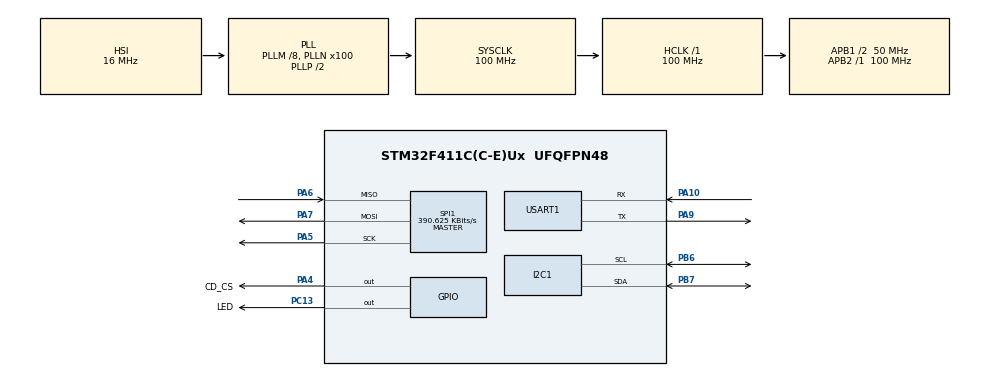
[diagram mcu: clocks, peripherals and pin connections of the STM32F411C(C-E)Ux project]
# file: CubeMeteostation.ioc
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I2C1.I2C_Mode=I2C_Standard
Mcu.Family=STM32F4
Mcu.Name=STM32F411C(C-E)Ux
Mcu.Package=UFQFPN48
NVIC.PriorityGroup=NVIC_PRIORITYGROUP_4
PA10.Mode=Asynchronous
PA10.Signal=USART1_RX
PA13.Mode=Serial_Wire
PA13.Signal=SYS_JTMS-SWDIO
PA14.Mode=Serial_Wire
PA14.Signal=SYS_JTCK-SWCLK
PA4.GPIO_Label=CD_CS
PA4.Signal=GPIO_Output
PA5.Mode=Full_Duplex_Master
PA5.Signal=SPI1_SCK
PA6.Mode=Full_Duplex_Master
PA6.Signal=SPI1_MISO
PA7.Mode=Full_Duplex_Master
PA7.Signal=SPI1_MOSI
PA9.Mode=Asynchronous
PA9.Signal=USART1_TX
PB6.Mode=I2C
PB6.Signal=I2C1_SCL
PB7.Mode=I2C
PB7.Signal=I2C1_SDA
PC13-ANTI_TAMP.GPIO_Label=LED
PC13-ANTI_TAMP.Signal=GPIO_Output
PH0\ -\ OSC_IN.Mode=HSE-External-Oscillator
PH0\ -\ OSC_IN.Signal=RCC_OSC_IN
PH1\ -\ OSC_OUT.Mode=HSE-External-Oscillator
PH1\ -\ OSC_OUT.Signal=RCC_OSC_OUT
ProjectManager.HeapSize=0x200
ProjectManager.StackSize=0x400
ProjectManager.TargetToolchain=STM32CubeIDE
RCC.48MHZClocksFreq_Value=50000000
RCC.AHBFreq_Value=100000000
RCC.APB1CLKDivider=RCC_HCLK_DIV2
RCC.APB1Freq_Value=50000000
RCC.APB1TimFreq_Value=100000000
RCC.APB2Freq_Value=100000000
RCC.APB2TimFreq_Value=100000000
RCC.CortexFreq_Value=100000000
RCC.HCLKFreq_Value=100000000
RCC.HSE_VALUE=25000000
RCC.HSI_VALUE=16000000
RCC.LSE_VALUE=32768
RCC.PLLM=8
RCC.PLLN=100
RCC.SYSCLKFreq_VALUE=100000000
RCC.SYSCLKSource=RCC_SYSCLKSOURCE_PLLCLK
RCC.VCOOutputFreq_Value=200000000
SPI1.BaudRatePrescaler=SPI_BAUDRATEPRESCALER_256
SPI1.CalculateBaudRate=390.625 KBits/s
SPI1.Direction=SPI_DIRECTION_2LINES
SPI1.Mode=SPI_MODE_MASTER
SPI1.VirtualType=VM_MASTER
USART1.VirtualMode=VM_ASYNC
VP_FATFS_VS_Generic.Mode=User_defined
board=custom

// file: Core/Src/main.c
/* USER CODE BEGIN Header */
/**
  ******************************************************************************
  * @file           : main.c
  * @brief          : Main program body
  ******************************************************************************
  * @attention
  *
  * Copyright (c) 2026 STMicroelectronics.
  * All rights reserved.
  *
  * This software is licensed under terms that can be found in the LICENSE file
  * in the root directory of this software component.
  * If no LICENSE file comes with this software, it is provided AS-IS.
  *
  ******************************************************************************
  */
/* USER CODE END Header */
#include "main.h"
#include "fatfs.h"

/* USER CODE BEGIN Includes */
#include <stdio.h>
#include <string.h>
#include "bme280.h"
#include "ssd1306.h"
/* USER CODE END Includes */

I2C_HandleTypeDef hi2c1;

SPI_HandleTypeDef hspi1;

UART_HandleTypeDef huart1;

/* USER CODE BEGIN PV */
SSD1306_Handle  oled;
BME280_Handle bme280;
BME280_Data sensorData;
char msg[128];
/* USER CODE END PV */

void SystemClock_Config(void);
static void MX_GPIO_Init(void);
static void MX_USART1_UART_Init(void);
static void MX_I2C1_Init(void);
static void MX_SPI1_Init(void);

int main(void)
{

  /* MCU Configuration--------------------------------------------------------*/

  /* Reset of all peripherals, Initializes the Flash interface and the Systick. */
  HAL_Init();

  /* Configure the system clock */
  SystemClock_Config();

  /* Initialize all configured peripherals */
  MX_GPIO_Init();
  MX_USART1_UART_Init();
  MX_I2C1_Init();
  MX_SPI1_Init();
  MX_FATFS_Init();
  /* USER CODE BEGIN 2 */
/* --- Ініціалізація OLED --- */
if (SSD1306_Init(&oled, &hi2c1) == HAL_OK) {
    HAL_UART_Transmit(&huart1, (uint8_t*)"OLED OK\r\n", 9, 100);
} else {
    HAL_UART_Transmit(&huart1, (uint8_t*)"OLED FAIL\r\n", 11, 100);
}

/* --- Ініціалізація BME280 --- */
if (BME280_Init(&bme280, &hi2c1) == HAL_OK) {
    HAL_UART_Transmit(&huart1, (uint8_t*)"BME280 OK\r\n", 11, 100);
} else {
    HAL_UART_Transmit(&huart1, (uint8_t*)"BME280 FAIL\r\n", 13, 100);
}

/* --- Стартовий екран --- */
SSD1306_Clear(&oled);
SSD1306_SetCursor(&oled, 20, 0);
SSD1306_WriteString(&oled, "MeteoStation", SSD1306_COLOR_WHITE);
SSD1306_DrawHLine(&oled, 0, 10, 128, SSD1306_COLOR_WHITE);
SSD1306_SetCursor(&oled, 15, 28);
SSD1306_WriteString(&oled, "Starting...", SSD1306_COLOR_WHITE);
SSD1306_UpdateScreen(&oled);
HAL_Delay(1500);

/* --- SD-карта: тест запису --- */
FATFS fs;
FIL fil;
FRESULT fr;
UINT bw;
char dbg[48];

/* Крок 1: низькорівнева ініціалізація диска */
DSTATUS dstat = disk_initialize(0);
sprintf(dbg, "disk_init: 0x%02X\r\n", dstat);
HAL_UART_Transmit(&huart1, (uint8_t*)dbg, strlen(dbg), 100);

/* Крок 2: монтування ФС */
fr = f_mount(&fs, "", 1);
sprintf(dbg, "f_mount: %d\r\n", fr);
HAL_UART_Transmit(&huart1, (uint8_t*)dbg, strlen(dbg), 100);

if (fr == FR_OK) {
    fr = f_open(&fil, "test.txt", FA_CREATE_ALWAYS | FA_WRITE);
    sprintf(dbg, "f_open: %d\r\n", fr);
    HAL_UART_Transmit(&huart1, (uint8_t*)dbg, strlen(dbg), 100);
    if (fr == FR_OK) {
        f_write(&fil, "SD OK\r\n", 7, &bw);
        f_close(&fil);
        HAL_UART_Transmit(&huart1, (uint8_t*)"SD write OK\r\n", 13, 100);
    }
}
  /* USER CODE END 2 */

  /* Infinite loop */
  while (1)
  {

    /* USER CODE BEGIN 3 */
	    if (BME280_ReadAll(&bme280, &sensorData) == HAL_OK) {

	        /* --- Оновити OLED --- */
	        SSD1306_Clear(&oled);

	        /* Заголовок (жовта зона) */
	        SSD1306_SetCursor(&oled, 20, 0);
	        SSD1306_WriteString(&oled, "MeteoStation", SSD1306_COLOR_WHITE);
	        SSD1306_DrawHLine(&oled, 0, 10, 128, SSD1306_COLOR_WHITE);

	        /* Температура */
	        sprintf(msg, "Temp:  %.1f C", sensorData.temperature);
	        SSD1306_SetCursor(&oled, 0, 18);
	        SSD1306_WriteString(&oled, msg, SSD1306_COLOR_WHITE);

	        /* Вологість */
	        sprintf(msg, "Humid: %.1f %%", sensorData.humidity);
	        SSD1306_SetCursor(&oled, 0, 30);
	        SSD1306_WriteString(&oled, msg, SSD1306_COLOR_WHITE);

	        /* Тиск */
	        sprintf(msg, "Press: %.0f hPa", sensorData.pressure);
	        SSD1306_SetCursor(&oled, 0, 42);
	        SSD1306_WriteString(&oled, msg, SSD1306_COLOR_WHITE);

	        /* Статус */
	        SSD1306_DrawHLine(&oled, 0, 53, 128, SSD1306_COLOR_WHITE);
	        SSD1306_SetCursor(&oled, 0, 56);
	        SSD1306_WriteString(&oled, "UART:OK  SD:--", SSD1306_COLOR_WHITE);

	        /* Відправити буфер на дисплей */
	        SSD1306_UpdateScreen(&oled);

	        /* --- Лог у UART --- */
	        sprintf(msg, "T=%.2f C  H=%.1f %%  P=%.1f hPa\r\n",
	                sensorData.temperature,
	                sensorData.humidity,
	                sensorData.pressure);
	        HAL_UART_Transmit(&huart1, (uint8_t*)msg, strlen(msg), 100);

	    } else {
	        HAL_UART_Transmit(&huart1, (uint8_t*)"BME280 read error\r\n", 19, 100);
	    }

	    /* Блимання LED — heartbeat */
	    HAL_GPIO_TogglePin(GPIOC, GPIO_PIN_13);

	    HAL_Delay(2000);
  }
  /* USER CODE END 3 */
}

void SystemClock_Config(void)
{
  RCC_OscInitTypeDef RCC_OscInitStruct = {0};
  RCC_ClkInitTypeDef RCC_ClkInitStruct = {0};

  /** Configure the main internal regulator output voltage
  */
  __HAL_RCC_PWR_CLK_ENABLE();
  __HAL_PWR_VOLTAGESCALING_CONFIG(PWR_REGULATOR_VOLTAGE_SCALE1);

  /** Initializes the RCC Oscillators according to the specified parameters
  * in the RCC_OscInitTypeDef structure.
  */
  RCC_OscInitStruct.OscillatorType = RCC_OSCILLATORTYPE_HSI;
  RCC_OscInitStruct.HSIState = RCC_HSI_ON;
  RCC_OscInitStruct.HSICalibrationValue = RCC_HSICALIBRATION_DEFAULT;
  RCC_OscInitStruct.PLL.PLLState = RCC_PLL_ON;
  RCC_OscInitStruct.PLL.PLLSource = RCC_PLLSOURCE_HSI;
  RCC_OscInitStruct.PLL.PLLM = 8;
  RCC_OscInitStruct.PLL.PLLN = 100;
  RCC_OscInitStruct.PLL.PLLP = RCC_PLLP_DIV2;
  RCC_OscInitStruct.PLL.PLLQ = 4;
  if (HAL_RCC_OscConfig(&RCC_OscInitStruct) != HAL_OK)
  {
    Error_Handler();
  }

  /** Initializes the CPU, AHB and APB buses clocks
  */
  RCC_ClkInitStruct.ClockType = RCC_CLOCKTYPE_HCLK|RCC_CLOCKTYPE_SYSCLK
                              |RCC_CLOCKTYPE_PCLK1|RCC_CLOCKTYPE_PCLK2;
  RCC_ClkInitStruct.SYSCLKSource = RCC_SYSCLKSOURCE_PLLCLK;
  RCC_ClkInitStruct.AHBCLKDivider = RCC_SYSCLK_DIV1;
  RCC_ClkInitStruct.APB1CLKDivider = RCC_HCLK_DIV2;
  RCC_ClkInitStruct.APB2CLKDivider = RCC_HCLK_DIV1;

  if (HAL_RCC_ClockConfig(&RCC_ClkInitStruct, FLASH_LATENCY_3) != HAL_OK)
  {
    Error_Handler();
  }
}

static void MX_I2C1_Init(void)
{

  hi2c1.Instance = I2C1;
  hi2c1.Init.ClockSpeed = 100000;
  hi2c1.Init.DutyCycle = I2C_DUTYCYCLE_2;
  hi2c1.Init.OwnAddress1 = 0;
  hi2c1.Init.AddressingMode = I2C_ADDRESSINGMODE_7BIT;
  hi2c1.Init.DualAddressMode = I2C_DUALADDRESS_DISABLE;
  hi2c1.Init.OwnAddress2 = 0;
  hi2c1.Init.GeneralCallMode = I2C_GENERALCALL_DISABLE;
  hi2c1.Init.NoStretchMode = I2C_NOSTRETCH_DISABLE;
  if (HAL_I2C_Init(&hi2c1) != HAL_OK)
  {
    Error_Handler();
  }

}

static void MX_SPI1_Init(void)
{

  /* SPI1 parameter configuration*/
  hspi1.Instance = SPI1;
  hspi1.Init.Mode = SPI_MODE_MASTER;
  hspi1.Init.Direction = SPI_DIRECTION_2LINES;
  hspi1.Init.DataSize = SPI_DATASIZE_8BIT;
  hspi1.Init.CLKPolarity = SPI_POLARITY_LOW;
  hspi1.Init.CLKPhase = SPI_PHASE_1EDGE;
  hspi1.Init.NSS = SPI_NSS_SOFT;
  hspi1.Init.BaudRatePrescaler = SPI_BAUDRATEPRESCALER_256;
  hspi1.Init.FirstBit = SPI_FIRSTBIT_MSB;
  hspi1.Init.TIMode = SPI_TIMODE_DISABLE;
  hspi1.Init.CRCCalculation = SPI_CRCCALCULATION_DISABLE;
  hspi1.Init.CRCPolynomial = 10;
  if (HAL_SPI_Init(&hspi1) != HAL_OK)
  {
    Error_Handler();
  }

}

static void MX_USART1_UART_Init(void)
{

  huart1.Instance = USART1;
  huart1.Init.BaudRate = 115200;
  huart1.Init.WordLength = UART_WORDLENGTH_8B;
  huart1.Init.StopBits = UART_STOPBITS_1;
  huart1.Init.Parity = UART_PARITY_NONE;
  huart1.Init.Mode = UART_MODE_TX_RX;
  huart1.Init.HwFlowCtl = UART_HWCONTROL_NONE;
  huart1.Init.OverSampling = UART_OVERSAMPLING_16;
  if (HAL_UART_Init(&huart1) != HAL_OK)
  {
    Error_Handler();
  }

}

static void MX_GPIO_Init(void)
{
  GPIO_InitTypeDef GPIO_InitStruct = {0};

  /* GPIO Ports Clock Enable */
  __HAL_RCC_GPIOC_CLK_ENABLE();
  __HAL_RCC_GPIOH_CLK_ENABLE();
  __HAL_RCC_GPIOA_CLK_ENABLE();
  __HAL_RCC_GPIOB_CLK_ENABLE();

  /*Configure GPIO pin Output Level */
  HAL_GPIO_WritePin(LED_GPIO_Port, LED_Pin, GPIO_PIN_RESET);

  /*Configure GPIO pin Output Level */
  HAL_GPIO_WritePin(CD_CS_GPIO_Port, CD_CS_Pin, GPIO_PIN_RESET);

  /*Configure GPIO pin : LED_Pin */
  GPIO_InitStruct.Pin = LED_Pin;
  GPIO_InitStruct.Mode = GPIO_MODE_OUTPUT_PP;
  GPIO_InitStruct.Pull = GPIO_NOPULL;
  GPIO_InitStruct.Speed = GPIO_SPEED_FREQ_LOW;
  HAL_GPIO_Init(LED_GPIO_Port, &GPIO_InitStruct);

  /*Configure GPIO pin : CD_CS_Pin */
  GPIO_InitStruct.Pin = CD_CS_Pin;
  GPIO_InitStruct.Mode = GPIO_MODE_OUTPUT_PP;
  GPIO_InitStruct.Pull = GPIO_NOPULL;
  GPIO_InitStruct.Speed = GPIO_SPEED_FREQ_LOW;
  HAL_GPIO_Init(CD_CS_GPIO_Port, &GPIO_InitStruct);

}

void Error_Handler(void)
{
  __disable_irq();
  while (1)
  {
  }
}
